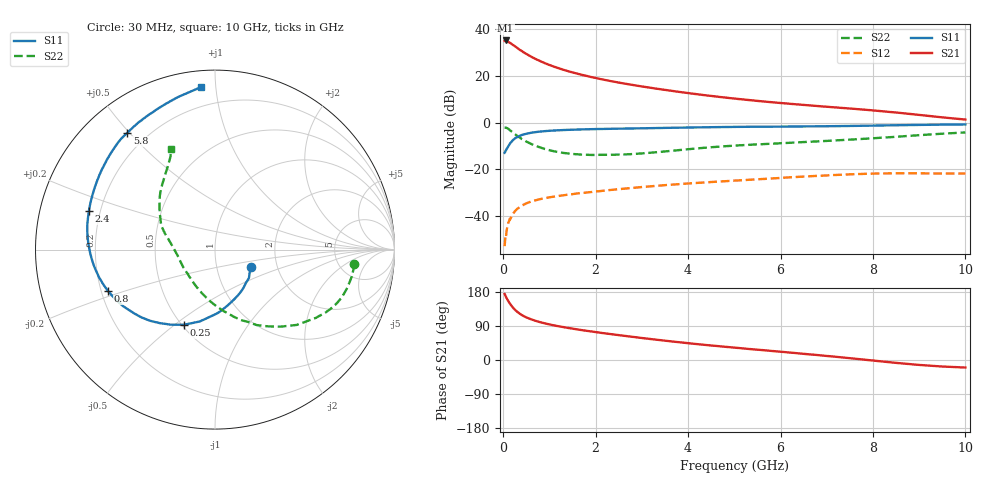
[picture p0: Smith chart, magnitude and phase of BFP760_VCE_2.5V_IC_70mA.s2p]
! Infineon Technologies  Discrete & RF Semiconductors
! BFP760
! VCE =  2.5 V,  IC =  70 mA
! Common Emitter S-Parameters:  Nov 2012
# GHz  S  MA  R  50
!  f  S11  S21  S12  S22
! GHz  MAG  ANG  MAG  ANG  MAG  ANG  MAG  ANG
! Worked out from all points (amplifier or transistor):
!   99 points, 30 MHz to 10 GHz, reference 50 ohm
!   highest |S21| = 35.3 dB at 50 MHz (marker M1)
!   |S21| within 3 dB of that: start of sweep to 289.2 MHz
!   unconditionally stable (mu >= 1): start of sweep to 46.7 MHz; 2.525 GHz to end of sweep
!   at 350 MHz: K = 0.54, MSG = 33.9 dB, |S12| = -36.5 dB
!   at 3.5 GHz: K = 1.09, MAG = 18.7 dB, |S12| = -26.9 dB
!   at 10 GHz: K = 1.08, MAG = 9.9 dB, |S12| = -21.9 dB
!   S11 on the Smith chart (normalised r, x): 30 MHz: 1.47, -0.30; 250 MHz: 0.51, -0.54; 800 MHz: 0.23, -0.18; 2.4 GHz: 0.16, +0.15; 5.8 GHz: 0.13, +0.49; 10 GHz: 0.09, +0.91
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0.03  0.224 -26.1  56.66 174.2  0.0022 67.4  0.78 -5.9
0.04  0.2311 -33.1  56.84 172.2  0.0029 78.2  0.7788 -8.6
0.05  0.2471 -40.2  58.01 169.1  0.0037 58.6  0.7765 -11.2
0.07  0.2649 -52.9  57.33 164.1  0.0044 73.0  0.7666 -16.2
0.09  0.2862 -63.8  55.83 159.5  0.0057 69.3  0.7525 -21.2
0.15  0.3564 -88.3  51.36 147.9  0.0083 66.3  0.6786 -34.1
0.2  0.4095 -102.0  47.3 139.7  0.0105 60.5  0.6197 -42.6
0.25  0.4523 -112.3  43.83 133.0  0.0123 57.4  0.5645 -49.5
0.3  0.4854 -120.5  40.34 127.4  0.0139 56.3  0.5189 -55.5
0.35  0.5136 -127.2  36.97 122.9  0.015 52.7  0.4802 -61.1
0.45  0.5571 -137.3  31.83 115.5  0.0173 49.4  0.4178 -69.9
0.6  0.6013 -148.4  26.14 107.5  0.02 46.7  0.3482 -81.5
0.8  0.639 -158.7  20.87 99.8  0.0226 43.5  0.2911 -94.8
1.2  0.6814 -172.7  14.66 89.0  0.0264 41.2  0.2312 -116.7
1.7  0.7107 175.4  10.6 78.9  0.0305 40.9  0.2037 -137.7
2.4  0.7345 163.1  7.534 67.2  0.0361 41.1  0.2035 -159.5
3.4  0.7627 148.6  5.194 52.4  0.0442 40.3  0.234 177.0
5.1  0.8061 131.6  3.196 31.6  0.0571 36.6  0.3229 156.6
5.8  0.8133 126.9  2.736 24.0  0.0626 34.9  0.3496 150.4
6.7  0.8276 120.6  2.302 14.2  0.0706 31.1  0.3888 142.7
8.5  0.8741 103.8  1.639 -7.6  0.0812 19.0  0.4933 124.8
10  0.9105 94.9  1.158 -19.9  0.0801 13.2  0.612 113.7
